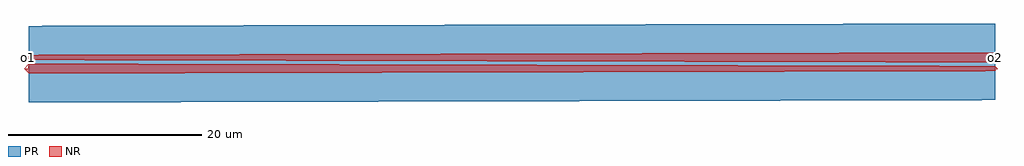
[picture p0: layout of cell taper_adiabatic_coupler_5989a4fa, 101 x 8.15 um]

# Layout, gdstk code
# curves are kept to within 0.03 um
import gdstk
lib = gdstk.Library(unit=1e-6, precision=1e-09)
def P(c, l, *ps):  # polygons
    for p in ps: c.add(gdstk.Polygon(p, *l))
PR = (60, 0)
NR = (61, 0)

ps_19 = lib.new_cell('ps_19')
P(ps_19, PR, [(49.9,-2.925),(-50,-2.675),(-50,0.325),(50,0.075),(50,-2.925)],
  [(49.9,-0.325),(-50,-0.075),(-50,2.925),(50,2.675),(50,-0.325)],
  [(-50,-4.075),(-50,-1.075),(50,-0.825),(50,-3.825)],
  [(-50,0.825),(-50,3.825),(50,4.075),(50,1.075)])

ng_17 = lib.new_cell('ng_17')
P(ng_17, NR, [(49.9,0.075),(-50,0.325),(-50,0.825),(50,1.075),(50,0.075)],
  [(-50,-1.075),(-50,-0.075),(50,-0.325),(50,-0.825)])

ps_6 = lib.new_cell('ps_6')

ng_4 = lib.new_cell('ng_4')

unnamed_1_1 = lib.new_cell('Unnamed_1$1')

taper_l100_w0p5_w1_b3 = lib.new_cell('taper_L100_W0p5_W1_B3')
taper_l100_w0p5_w1_b3.add(gdstk.Reference(ps_6, (0,0)))
taper_l100_w0p5_w1_b3.add(gdstk.Reference(ng_4, (0,0)))
taper_l100_w0p5_w1_b3.add(gdstk.Reference(unnamed_1_1, (0,0)))

ps_13 = lib.new_cell('ps_13')

unnamed_8_1 = lib.new_cell('Unnamed_8$1')

ng_11 = lib.new_cell('ng_11')

taper_l100_w1_w0p5_b3 = lib.new_cell('taper_L100_W1_W0p5_B3')
taper_l100_w1_w0p5_b3.add(gdstk.Reference(ps_13, (0,0)))
taper_l100_w1_w0p5_b3.add(gdstk.Reference(unnamed_8_1, (0,0)))
taper_l100_w1_w0p5_b3.add(gdstk.Reference(ng_11, (0,0)))

unnamed_0_1 = lib.new_cell('Unnamed_0$1')
unnamed_0_1.add(gdstk.Reference(taper_l100_w0p5_w1_b3, (-50,0.575)))
unnamed_0_1.add(gdstk.Reference(taper_l100_w1_w0p5_b3, (-50,-0.575)))

taper_adiabatic_coupler_ = lib.new_cell('taper_adiabatic_coupler_5989a4fa')
P(taper_adiabatic_coupler_, NR, [(-50,0.325),(-50.25,0.575),(-50.062,0.763),(-50.025,0.763),(-50.215,0.575),(-50.025,0.575),(-50.025,0.763),(-50.062,0.763),(-50,0.825)],
  [(50,0.075),(50,0.575),(50.05,0.575),(50.05,0.2),(50.43,0.575),(50,0.575),(50,1.075),(50.5,0.575)],
  [(-50,-1.075),(-50.5,-0.575),(-50.125,-0.2),(-50.05,-0.2),(-50.43,-0.575),(-50.05,-0.575),(-50.05,-0.2),(-50.125,-0.2),(-50,-0.075)],
  [(50,-0.825),(50,-0.575),(50.025,-0.575),(50.025,-0.763),(50.215,-0.575),(50,-0.575),(50,-0.325),(50.25,-0.575)])
taper_adiabatic_coupler_.add(gdstk.Reference(ps_19, (0,0)))
taper_adiabatic_coupler_.add(gdstk.Reference(ng_17, (0,0)))
taper_adiabatic_coupler_.add(gdstk.Reference(unnamed_0_1, (0,0)))
taper_adiabatic_coupler_.add(gdstk.Label('o2', (50,0.575), layer=61, texttype=0))
taper_adiabatic_coupler_.add(gdstk.Label('o1', (-50,0.575), layer=61, texttype=0))
taper_adiabatic_coupler_.add(gdstk.Label('o3', (-50,-0.575), layer=61, texttype=0))
taper_adiabatic_coupler_.add(gdstk.Label('o4', (50,-0.575), layer=61, texttype=0))

lib.write_gds('taper_adiabatic_coupler_5989a4fa.gds')
